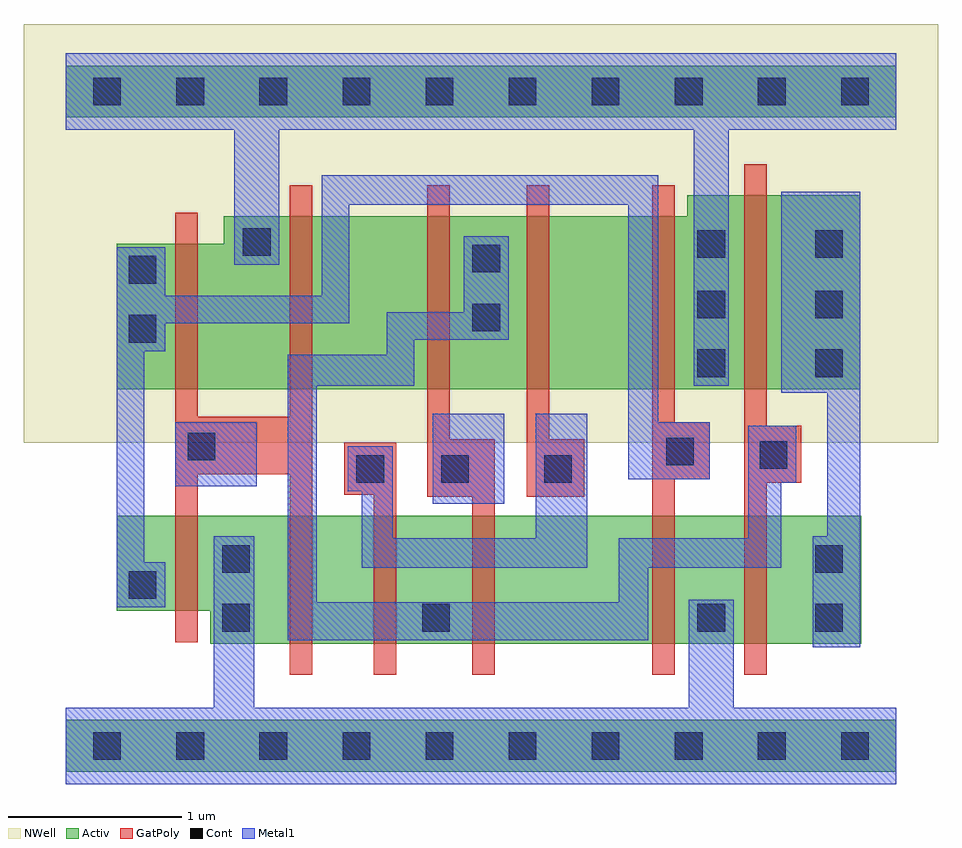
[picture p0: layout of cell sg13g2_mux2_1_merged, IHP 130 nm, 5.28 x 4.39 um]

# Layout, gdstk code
import gdstk
lib = gdstk.Library(unit=1e-6, precision=1e-09)
def R(c, l, rs):  # rectangles x0, y0, x1, y1
    for r in rs: c.add(gdstk.rectangle(r[:2], r[2:], *l))
def A(c, l, x, y, w, h, nx, ny, dx, dy):  # array of equal rectangles
    R(c, l, [(x+i*dx, y+j*dy, x+i*dx+w, y+j*dy+h) for i in range(nx) for j in range(ny)])
def P(c, l, *ps):  # polygons
    for p in ps: c.add(gdstk.Polygon(p, *l))
Activ = (1, 0)
GatPoly = (5, 0)
Cont = (6, 0)
Metal1 = (8, 0)
NWell = (31, 0)

sg13g2_mux2_1_merged = lib.new_cell('sg13g2_mux2_1_merged')
R(sg13g2_mux2_1_merged, Activ, [(0,-0.15,4.8,0.15), (0,3.63,4.8,3.93)])
P(sg13g2_mux2_1_merged, Activ, [(0.835,0.59),(0.835,0.78),(0.295,0.78),(0.295,1.33),(4.595,1.33),(4.595,0.59)],
  [(0.295,2.06),(0.295,2.9),(0.915,2.9),(0.915,3.06),(3.59,3.06),(3.59,3.18),(4.59,3.18),(4.59,2.06)])
P(sg13g2_mux2_1_merged, GatPoly, [(1.78,0.41),(1.78,1.45),(1.61,1.45),(1.61,1.75),(1.91,1.75),(1.91,0.41)],
  [(1.295,0.41),(1.295,1.57),(0.765,1.57),(0.765,0.6),(0.635,0.6),(0.635,3.08),(0.765,3.08),(0.765,1.9),(1.295,1.9),(1.295,3.24),(1.425,3.24),(1.425,0.41)],
  [(2.35,0.41),(2.35,1.44),(2.09,1.44),(2.09,3.24),(2.22,3.24),(2.22,1.77),(2.48,1.77),(2.48,0.41)],
  [(2.665,1.44),(2.665,3.24),(2.795,3.24),(2.795,1.77),(2.995,1.77),(2.995,1.44)],
  [(3.39,0.41),(3.39,3.24),(3.52,3.24),(3.52,1.87),(3.72,1.87),(3.72,1.54),(3.52,1.54),(3.52,0.41)],
  [(3.92,0.41),(3.92,3.36),(4.05,3.36),(4.05,1.85),(4.25,1.85),(4.25,1.52),(4.05,1.52),(4.05,0.41)])
A(sg13g2_mux2_1_merged, Cont, 0.16, -0.08, 0.16, 0.16, 10, 2, 0.48, 3.78)
R(sg13g2_mux2_1_merged, Cont, [(0.905,0.66,1.065,0.82), (2.06,0.66,2.22,0.82), (3.65,0.66,3.81,0.82), (4.33,0.66,4.49,0.82), (0.365,0.85,0.525,1.01), (0.905,1,1.065,1.16), (4.33,1,4.49,1.16), (1.68,1.52,1.84,1.68), (2.17,1.52,2.33,1.68), (2.765,1.52,2.925,1.68), (4.01,1.6,4.17,1.76), (3.47,1.62,3.63,1.78), (0.705,1.65,0.865,1.81), (3.65,2.13,3.81,2.29), (4.33,2.13,4.49,2.29), (0.365,2.33,0.525,2.49), (2.35,2.395,2.51,2.555), (3.65,2.47,3.81,2.63), (4.33,2.47,4.49,2.63), (0.365,2.67,0.525,2.83), (2.35,2.735,2.51,2.895), (3.65,2.82,3.81,2.98), (4.33,2.82,4.49,2.98), (1.025,2.83,1.185,2.99)])
R(sg13g2_mux2_1_merged, Metal1, [(2.12,1.4,2.535,1.92), (0.635,1.5,1.105,1.87)])
P(sg13g2_mux2_1_merged, Metal1, [(0,-0.22),(0,0.22),(0.855,0.22),(0.855,1.21),(1.09,1.21),(1.09,0.22),(3.6,0.22),(3.6,0.845),(3.86,0.845),(3.86,0.22),(4.8,0.22),(4.8,-0.22)],
  [(1.71,1.03),(1.71,1.47),(1.63,1.47),(1.63,1.73),(1.89,1.73),(1.89,1.2),(2.715,1.2),(2.715,1.92),(3.015,1.92),(3.015,1.03)],
  [(1.285,0.61),(1.285,2.26),(1.855,2.26),(1.855,2.505),(2.3,2.505),(2.3,2.945),(2.56,2.945),(2.56,2.345),(2.015,2.345),(2.015,2.08),(1.45,2.08),(1.45,0.83),(3.195,0.83),(3.195,1.2),(3.945,1.2),(3.945,1.85),(4.22,1.85),(4.22,1.52),(4.135,1.52),(4.135,1.03),(3.365,1.03),(3.365,0.61)],
  [(4.315,0.57),(4.315,1.21),(4.4,1.21),(4.4,2.04),(4.135,2.04),(4.135,3.2),(4.59,3.2),(4.59,0.57)],
  [(0.295,0.8),(0.295,2.88),(0.575,2.88),(0.575,2.6),(1.48,2.6),(1.48,3.295),(3.425,3.295),(3.425,1.87),(3.72,1.87),(3.72,1.54),(3.25,1.54),(3.25,3.125),(1.64,3.125),(1.64,2.44),(0.575,2.44),(0.575,2.28),(0.455,2.28),(0.455,1.06),(0.575,1.06),(0.575,0.8)],
  [(3.63,2.08),(3.63,3.56),(1.235,3.56),(1.235,2.78),(0.975,2.78),(0.975,3.56),(0,3.56),(0,4),(4.8,4),(4.8,3.56),(3.83,3.56),(3.83,2.08)])
R(sg13g2_mux2_1_merged, NWell, [(-0.24,1.75,5.04,4.17)])

lib.write_gds('sg13g2_mux2_1_merged.gds')
